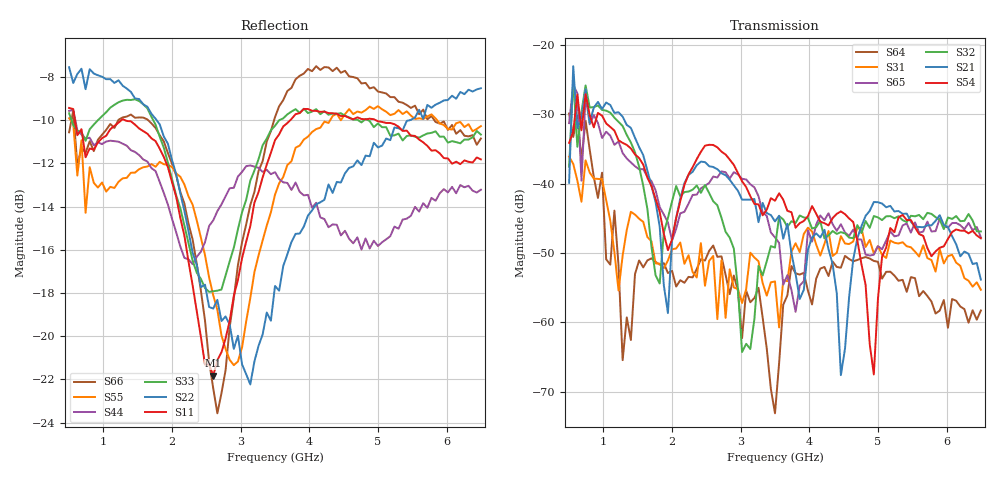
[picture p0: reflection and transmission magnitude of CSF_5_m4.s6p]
!Keysight Technologies,M9804A,MY58100912,A.14.10.03
!Date: Thursday, April 27, 2023 10:28:33
!Correction: S11(C  6-Port  )
!S12(C  6-Port  )
!S13(C  6-Port  )
!S14(C  6-Port  )
!S15(C  6-Port  )
!S16(C  6-Port  )
!S21(C  6-Port  )
!S22(C  6-Port  )
!S23(C  6-Port  )
!S24(C  6-Port  )
!S25(C  6-Port  )
!S26(C  6-Port  )
!S31(C  6-Port  )
!S32(C  6-Port  )
!S33(C  6-Port  )
!S34(C  6-Port  )
!S35(C  6-Port  )
!S36(C  6-Port  )
!S41(C  6-Port  )
!S42(C  6-Port  )
!S43(C  6-Port  )
!S44(C  6-Port  )
!S45(C  6-Port  )
!S46(C  6-Port  )
!S51(C  6-Port  )
!S52(C  6-Port  )
!S53(C  6-Port  )
!S54(C  6-Port  )
!S55(C  6-Port  )
!S56(C  6-Port  )
!S61(C  6-Port  )
!S62(C  6-Port  )
!S63(C  6-Port  )
!S64(C  6-Port  )
!S65(C  6-Port  )
!S66(C  6-Port  )
!S6P File: Measurement: :
# Hz S  RI  R 50
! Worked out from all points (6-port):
!   101 points, 500 MHz to 6.5 GHz, reference 50 ohm
!   strongest paths, dB at 500 MHz, 2 GHz, 3.5 GHz, 5 GHz, 6.5 GHz:
!     S54: -34.1, -48.1, -42.5, -56.6, -47.9
!     S21: -39.9, -47.9, -45.4, -42.7, -53.9
!     S32: -37.5, -42.5, -49.2, -44.9, -46.9
!     S65: -31.3, -48.2, -47.7, -49.0, -47.7
!     S31: -36.1, -49.5, -54.1, -49.0, -55.3
!     S64: -29.9, -52.6, -73.1, -51.3, -58.3
!   lowest |S11| = -21.8 dB at 2.6 GHz (marker M1), VSWR 1.18, Z = 42.7 + j1.97 ohm
!   |S11| at or under -10 dB: 585.5 MHz to 1.263 GHz (677.4 MHz wide, 73.3 % of centre); 1.313 GHz to 3.723 GHz (2.409 GHz wide, 95.7 % of centre); 4.968 GHz to end of sweep
